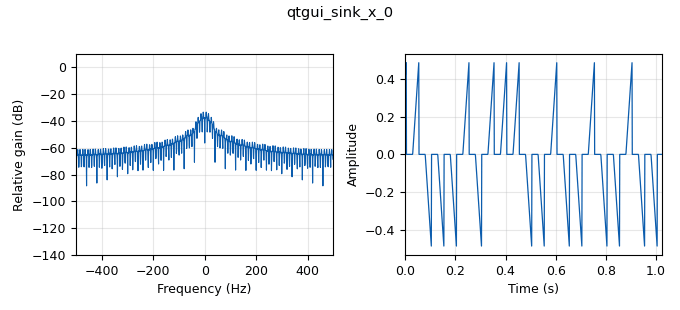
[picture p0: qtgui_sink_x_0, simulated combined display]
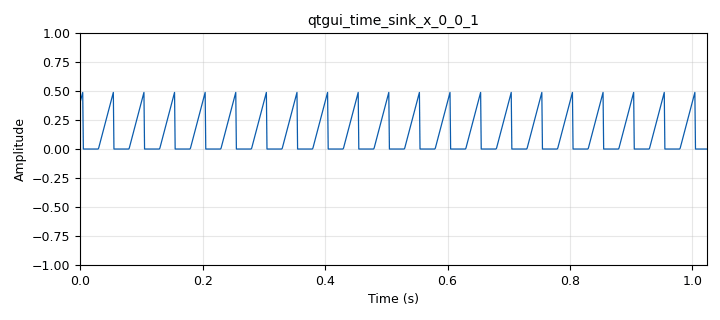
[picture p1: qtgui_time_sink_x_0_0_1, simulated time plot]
options:
  parameters:
    author: Jasper Leo
    copyright: BUPT 2019211127 2019210517
    description: Homework 1
    generate_options: qt_gui
    id: bitstream
    output_language: python
    title: bitstream
  states: {}

blocks:
- name: bps
  id: variable
  parameters:
    value: '20'
  states: {}
- name: freqmod
  id: variable_qtgui_range
  parameters:
    orient: Qt.Horizontal
    start: '1'
    step: '1'
    stop: '5'
    value: '1'
  states: {}
- name: phase1
  id: variable_qtgui_range
  parameters:
    orient: Qt.Horizontal
    start: '0'
    step: '1'
    stop: '90'
    value: '15'
  states: {}
- name: phase2
  id: variable_qtgui_range
  parameters:
    orient: Qt.Horizontal
    start: '0'
    step: '1'
    stop: '90'
    value: '15'
  states: {}
- name: repeat
  id: variable
  parameters:
    value: '25'
  states: {}
- name: samp_rate
  id: variable
  parameters:
    value: '1000'
  states: {}
- name: analog_random_source_x_0
  id: analog_random_source_x
  parameters:
    max: '2'
    min: '0'
    num_samps: '20000'
    repeat: 'True'
    type: byte
  states: {}
- name: analog_sig_source_x_0
  id: analog_sig_source_x
  parameters:
    amp: '1'
    freq: bps*freqmod
    offset: '0'
    phase: phase1
    samp_rate: samp_rate
    type: float
    waveform: analog.GR_SAW_WAVE
  states: {}
- name: analog_sig_source_x_0_0
  id: analog_sig_source_x
  parameters:
    amp: '1'
    freq: bps
    offset: '0'
    phase: phase2
    samp_rate: samp_rate
    type: float
    waveform: analog.GR_SQR_WAVE
  states: {}
- name: blocks_add_const_vxx_0
  id: blocks_add_const_vxx
  parameters:
    const: '-1'
    type: float
  states: {}
- name: blocks_multiply_const_vxx_0
  id: blocks_multiply_const_vxx
  parameters:
    const: '2'
    type: float
  states: {}
- name: blocks_multiply_xx_0
  id: blocks_multiply_xx
  parameters:
    type: float
  states: {}
- name: blocks_multiply_xx_0_0
  id: blocks_multiply_xx
  parameters:
    type: float
  states: {}
- name: blocks_repeat_0
  id: blocks_repeat
  parameters:
    interp: repeat*2
    type: byte
  states: {}
- name: blocks_throttle_0_1
  id: blocks_throttle
  parameters:
    samples_per_second: samp_rate
    type: byte
  states: {}
- name: blocks_throttle_0_1_0
  id: blocks_throttle
  parameters:
    samples_per_second: samp_rate
    type: float
  states: {}
- name: blocks_uchar_to_float_0
  id: blocks_uchar_to_float
  parameters: {}
  states: {}
- name: qtgui_sink_x_0
  id: qtgui_sink_x
  parameters:
    bw: samp_rate
    fc: '0'
    fftsize: '1024'
    type: float
    wintype: firdes.WIN_BLACKMAN_hARRIS
  states: {}
- name: qtgui_time_sink_x_0_0_1
  id: qtgui_time_sink_x
  parameters:
    size: '1024'
    srate: samp_rate
    type: float
  states: {}

connections:
- [analog_random_source_x_0, '0', blocks_repeat_0, '0']
- [analog_sig_source_x_0, '0', blocks_multiply_xx_0_0, '0']
- [analog_sig_source_x_0_0, '0', blocks_multiply_xx_0_0, '1']
- [blocks_add_const_vxx_0, '0', blocks_multiply_xx_0, '0']
- [blocks_multiply_const_vxx_0, '0', blocks_add_const_vxx_0, '0']
- [blocks_multiply_xx_0, '0', qtgui_sink_x_0, '0']
- [blocks_multiply_xx_0_0, '0', blocks_throttle_0_1_0, '0']
- [blocks_repeat_0, '0', blocks_throttle_0_1, '0']
- [blocks_throttle_0_1, '0', blocks_uchar_to_float_0, '0']
- [blocks_throttle_0_1_0, '0', blocks_multiply_xx_0, '1']
- [blocks_throttle_0_1_0, '0', qtgui_time_sink_x_0_0_1, '0']
- [blocks_uchar_to_float_0, '0', blocks_multiply_const_vxx_0, '0']

metadata:
  file_format: 1
